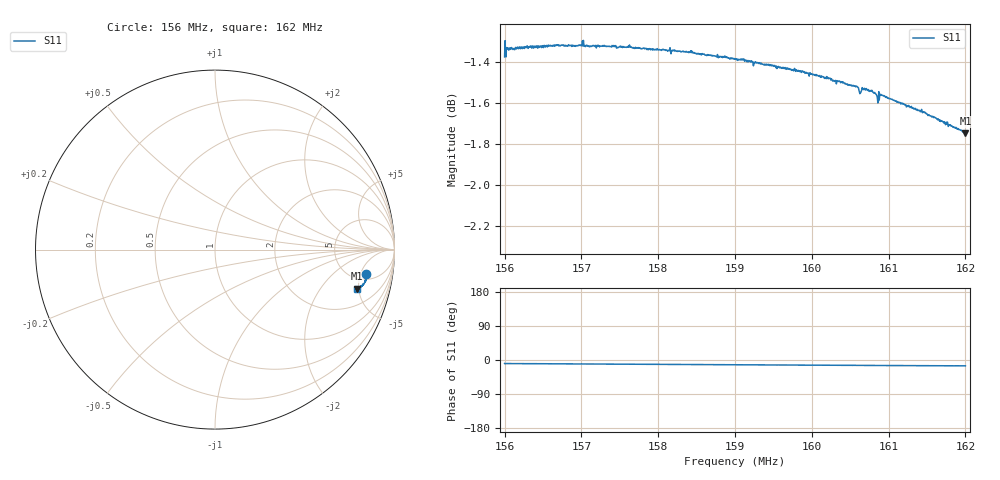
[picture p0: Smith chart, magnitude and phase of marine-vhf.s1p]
! Calibrated averaged scanner-service zoom
# Hz S RI R 50
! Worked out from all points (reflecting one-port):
!   1001 points, 156 MHz to 162 MHz, reference 50 ohm
!   lowest |S11| = -1.7 dB at 162 MHz (marker M1), VSWR 9.98, Z = 180 - j236 ohm
!   phase of S11 starts at -9 deg and turns -6 deg over the sweep
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1.56e8  0.8428 -0.1351
1.56036e8  0.846 -0.14
1.56042e8  0.8465 -0.1397
1.56048e8  0.8461 -0.1398
1.5612e8  0.846 -0.1405
1.5675e8  0.8455 -0.152
1.56924e8  0.8445 -0.1548
1.56996e8  0.8447 -0.1558
1.57104e8  0.8438 -0.1573
1.575e8  0.8428 -0.1635
1.5825e8  0.8381 -0.1749
1.59e8  0.8323 -0.185
1.59552e8  0.8266 -0.1928
1.5975e8  0.8248 -0.1948
1.60224e8  0.8188 -0.2017
1.605e8  0.8146 -0.2051
1.60578e8  0.8141 -0.2057
1.60638e8  0.8116 -0.2034
1.6068e8  0.8126 -0.2067
1.60788e8  0.8111 -0.2075
1.60818e8  0.8103 -0.2086
1.60836e8  0.8093 -0.2094
1.60866e8  0.805 -0.2112
1.6092e8  0.8088 -0.2094
1.6125e8  0.803 -0.2121
1.61454e8  0.7998 -0.2133
1.61718e8  0.7942 -0.2161
1.62e8  0.7885 -0.2171
